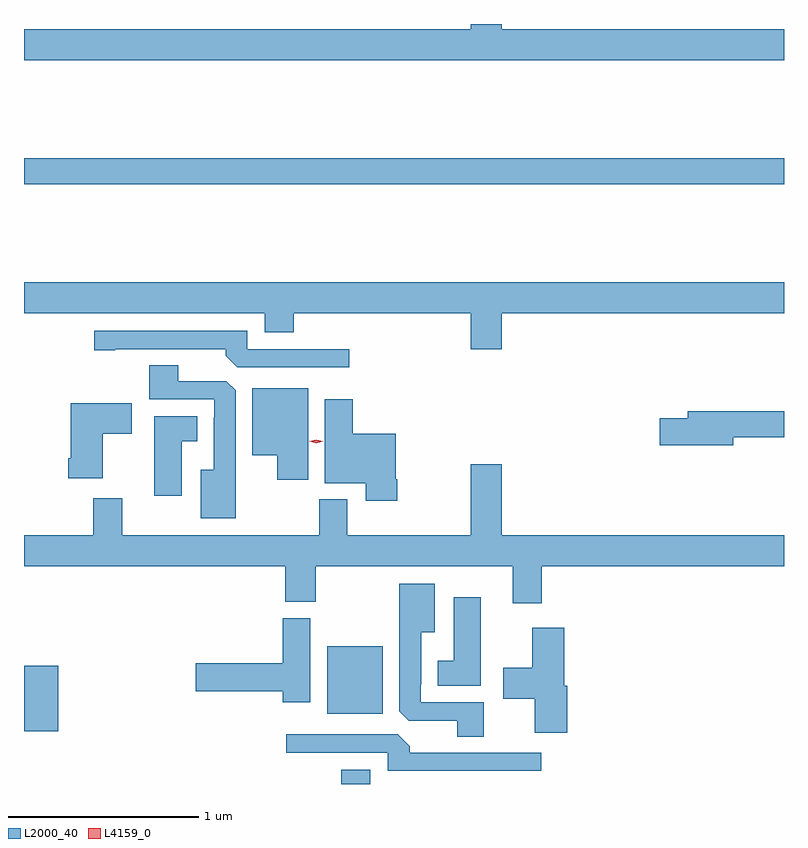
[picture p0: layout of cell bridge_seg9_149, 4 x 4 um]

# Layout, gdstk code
import gdstk
lib = gdstk.Library(unit=1e-6, precision=1e-09)
def R(c, l, rs):  # rectangles x0, y0, x1, y1
    for r in rs: c.add(gdstk.rectangle(r[:2], r[2:], *l))
def P(c, l, *ps):  # polygons
    for p in ps: c.add(gdstk.Polygon(p, *l))
L2000_40 = (2000, 40)
L4159_0 = (4159, 0)

bridge_seg9_149 = lib.new_cell('bridge_seg9_149')
R(bridge_seg9_149, L2000_40, [(571.919,1211.259,572.071,1211.335), (570.249,1211.537,570.43,1211.881), (571.844,1211.63,572.137,1211.983), (570.249,1214.416,574.249,1214.552)])
P(bridge_seg9_149, L2000_40, [(574.249,1215.232),(572.764,1215.232),(572.764,1215.259),(572.6,1215.259),(572.6,1215.232),(570.249,1215.232),(570.249,1215.068),(574.249,1215.068)],
  [(572.764,1213.736),(574.249,1213.736),(574.249,1213.9),(570.249,1213.9),(570.249,1213.736),(571.517,1213.736),(571.517,1213.637),(571.67,1213.637),(571.67,1213.736),(572.6,1213.736),(572.6,1213.548),(572.764,1213.548)],
  [(571.96,1213.548),(571.425,1213.548),(571.425,1213.644),(570.618,1213.644),(570.618,1213.543),(570.73,1213.543),(570.73,1213.548),(571.31,1213.548),(571.31,1213.514),(571.371,1213.452),(571.96,1213.452)],
  [(571.363,1213.331),(571.314,1213.38),(571.06,1213.38),(571.06,1213.463),(570.908,1213.463),(570.908,1213.284),(571.251,1213.284),(571.251,1213.187),(571.247,1213.187),(571.247,1212.913),(571.178,1212.913),(571.178,1212.659),(571.363,1212.659)],
  [(571.744,1213.342),(571.451,1213.342),(571.451,1212.989),(571.583,1212.989),(571.583,1212.861),(571.744,1212.861)],
  [(572.214,1212.862),(572.206,1212.862),(572.206,1213.102),(571.979,1213.102),(571.979,1213.285),(571.832,1213.285),(571.832,1212.842),(572.048,1212.842),(572.048,1212.75),(572.214,1212.75)],
  [(570.664,1213.102),(570.817,1213.102),(570.817,1213.264),(570.494,1213.264),(570.494,1212.973),(570.482,1212.973),(570.482,1212.869),(570.664,1212.869)],
  [(573.982,1213.084),(574.249,1213.084),(574.249,1213.22),(573.743,1213.22),(573.743,1213.184),(573.594,1213.184),(573.594,1213.042),(573.982,1213.042)],
  [(571.078,1213.064),(571.162,1213.064),(571.162,1213.195),(570.935,1213.195),(570.935,1212.777),(571.078,1212.777)],
  [(572.975,1212.404),(574.249,1212.404),(574.249,1212.568),(572.764,1212.568),(572.764,1212.943),(572.6,1212.943),(572.6,1212.568),(571.951,1212.568),(571.951,1212.757),(571.804,1212.757),(571.804,1212.568),(570.766,1212.568),(570.766,1212.763),(570.614,1212.763),(570.614,1212.568),(570.249,1212.568),(570.249,1212.404),(571.625,1212.404),(571.625,1212.217),(571.785,1212.217),(571.785,1212.404),(572.822,1212.404),(572.822,1212.21),(572.975,1212.21)],
  [(572.668,1211.688),(572.337,1211.688),(572.337,1211.785),(572.341,1211.785),(572.341,1212.059),(572.41,1212.059),(572.41,1212.313),(572.225,1212.313),(572.225,1211.641),(572.274,1211.592),(572.528,1211.592),(572.528,1211.509),(572.668,1211.509)],
  [(572.653,1212.241),(572.51,1212.241),(572.51,1211.908),(572.426,1211.908),(572.426,1211.777),(572.653,1211.777)],
  [(571.756,1212.132),(571.61,1212.132),(571.61,1211.894),(571.152,1211.894),(571.152,1211.747),(571.61,1211.747),(571.61,1211.688),(571.756,1211.688)],
  [(573.107,1211.777),(573.092,1211.777),(573.092,1212.082),(572.924,1212.082),(572.924,1211.871),(572.772,1211.871),(572.772,1211.708),(572.936,1211.708),(572.936,1211.529),(573.107,1211.529)],
  [(572.971,1211.424),(572.279,1211.424),(572.279,1211.458),(572.217,1211.52),(571.629,1211.52),(571.629,1211.424),(572.163,1211.424),(572.163,1211.328),(572.971,1211.328)])
P(bridge_seg9_149, L4159_0, [(571.788,1213.052),(571.751,1213.063),(571.751,1213.063),(571.751,1213.063),(571.788,1213.072),(571.825,1213.062),(571.825,1213.062),(571.825,1213.062)])

lib.write_gds('bridge_seg9_149.gds')
